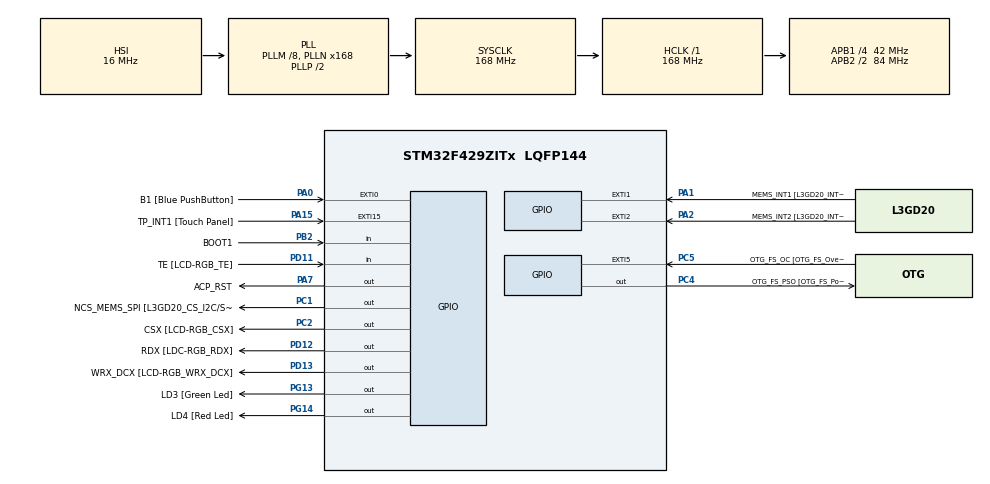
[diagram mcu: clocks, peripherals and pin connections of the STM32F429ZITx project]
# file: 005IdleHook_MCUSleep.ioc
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Mcu.Family=STM32F4
Mcu.Name=STM32F429ZITx
Mcu.Package=LQFP144
NVIC.PriorityGroup=NVIC_PRIORITYGROUP_4
NVIC.TIM6_DAC_IRQn=true\:15\:0\:false\:false\:true\:false\:true\:true
NVIC.TimeBase=TIM6_DAC_IRQn
NVIC.TimeBaseIP=TIM6
PA0/WKUP.GPIO_Label=B1 [Blue PushButton]
PA0/WKUP.GPIO_ModeDefaultEXTI=GPIO_MODE_EVT_RISING
PA0/WKUP.GPIO_PuPd=GPIO_NOPULL
PA0/WKUP.Signal=GPXTI0
PA1.GPIO_Label=MEMS_INT1 [L3GD20_INT1]
PA1.GPIO_ModeDefaultEXTI=GPIO_MODE_EVT_RISING
PA1.GPIO_PuPd=GPIO_NOPULL
PA1.Signal=GPXTI1
PA10.GPIO_Label=STLINK_TX [STM32F103CBT6_PA2]
PA10.Signal=USART1_RX
PA11.GPIO_Label=R4
PA11.GPIO_Mode=GPIO_MODE_AF_PP
PA11.GPIO_PuPd=GPIO_NOPULL
PA11.GPIO_Speed=GPIO_SPEED_FREQ_LOW
PA11.Signal=LTDC_R4
PA12.GPIO_Label=R5
PA12.GPIO_Mode=GPIO_MODE_AF_PP
PA12.GPIO_PuPd=GPIO_NOPULL
PA12.GPIO_Speed=GPIO_SPEED_FREQ_LOW
PA12.Signal=LTDC_R5
PA13.GPIO_Label=SWDIO
PA13.Signal=SYS_JTMS-SWDIO
PA14.GPIO_Label=SWCLK
PA14.Signal=SYS_JTCK-SWCLK
PA15.GPIO_Label=TP_INT1 [Touch Panel]
PA15.GPIO_ModeDefaultEXTI=GPIO_MODE_EVT_RISING
PA15.GPIO_PuPd=GPIO_NOPULL
PA15.Signal=GPXTI15
PA2.GPIO_Label=MEMS_INT2 [L3GD20_INT2]
PA2.GPIO_ModeDefaultEXTI=GPIO_MODE_EVT_RISING
PA2.GPIO_PuPd=GPIO_NOPULL
PA2.Signal=GPXTI2
PA3.GPIO_Label=B5
PA3.GPIO_Mode=GPIO_MODE_AF_PP
PA3.GPIO_PuPd=GPIO_NOPULL
PA3.GPIO_Speed=GPIO_SPEED_FREQ_LOW
PA3.Signal=LTDC_B5
PA4.GPIO_Label=VSYNC
PA4.GPIO_Mode=GPIO_MODE_AF_PP
PA4.GPIO_PuPd=GPIO_NOPULL
PA4.GPIO_Speed=GPIO_SPEED_FREQ_LOW
PA4.Signal=LTDC_VSYNC
PA6.GPIO_Label=G2
PA6.GPIO_Mode=GPIO_MODE_AF_PP
PA6.GPIO_PuPd=GPIO_NOPULL
PA6.GPIO_Speed=GPIO_SPEED_FREQ_LOW
PA6.Signal=LTDC_G2
PA7.GPIO_Label=ACP_RST
PA7.GPIO_Mode=GPIO_MODE_OUTPUT_PP
PA7.GPIO_PuPd=GPIO_NOPULL
PA7.GPIO_Speed=GPIO_SPEED_FREQ_LOW
PA7.Signal=GPIO_Output
PA8.GPIO_Label=I2C3_SCL [ACP/RF_SCL]
PA8.GPIO_Mode=GPIO_MODE_AF_OD
PA8.GPIO_PuPd=GPIO_NOPULL
PA8.GPIO_Speed=GPIO_SPEED_FREQ_LOW
PA8.Signal=I2C3_SCL
PA9.GPIO_Label=STLINK_RX [STM32F103CBT6_PA3]
PA9.Signal=USART1_TX
PB0.GPIO_Label=R3
PB0.GPIO_Mode=GPIO_MODE_AF_PP
PB0.GPIO_PuPd=GPIO_NOPULL
PB0.GPIO_Speed=GPIO_SPEED_FREQ_LOW
PB0.Signal=LTDC_R3
PB1.GPIO_Label=R6
PB1.GPIO_Mode=GPIO_MODE_AF_PP
PB1.GPIO_PuPd=GPIO_NOPULL
PB1.GPIO_Speed=GPIO_SPEED_FREQ_LOW
PB1.Signal=LTDC_R6
PB10.GPIO_Label=G4
PB10.GPIO_Mode=GPIO_MODE_AF_PP
PB10.GPIO_PuPd=GPIO_NOPULL
PB10.GPIO_Speed=GPIO_SPEED_FREQ_LOW
PB10.Signal=LTDC_G4
PB11.GPIO_Label=G5
PB11.GPIO_Mode=GPIO_MODE_AF_PP
PB11.GPIO_PuPd=GPIO_NOPULL
PB11.GPIO_Speed=GPIO_SPEED_FREQ_LOW
PB11.Signal=LTDC_G5
PB12.GPIO_Label=OTG_HS_ID
PB12.GPIO_Mode=GPIO_MODE_AF_PP
PB12.GPIO_PuPd=GPIO_NOPULL
PB12.GPIO_Speed=GPIO_SPEED_FREQ_LOW
PB12.Signal=USB_OTG_HS_ID
PB13.GPIO_Label=VBUS_HS
PB13.GPIO_Mode=GPIO_MODE_INPUT
PB13.GPIO_PuPd=GPIO_NOPULL
PB13.Signal=USB_OTG_HS_VBUS
PB14.GPIO_Label=OTG_HS_DM
PB14.GPIO_Mode=GPIO_MODE_AF_PP
PB14.GPIO_PuPd=GPIO_NOPULL
PB14.GPIO_Speed=GPIO_SPEED_FREQ_LOW
PB14.Signal=USB_OTG_HS_DM
PB15.GPIO_Label=OTG_HS_DP
PB15.GPIO_Mode=GPIO_MODE_AF_PP
PB15.GPIO_PuPd=GPIO_NOPULL
PB15.GPIO_Speed=GPIO_SPEED_FREQ_LOW
PB15.Signal=USB_OTG_HS_DP
PB2/BOOT1.GPIO_Label=BOOT1
PB2/BOOT1.GPIO_Mode=GPIO_MODE_INPUT
PB2/BOOT1.GPIO_PuPd=GPIO_NOPULL
PB2/BOOT1.Signal=GPIO_Input
PB5.GPIO_Label=SDCKE1
PB5.GPIO_Mode=GPIO_MODE_AF_PP
PB5.GPIO_PuPd=GPIO_NOPULL
PB5.GPIO_Speed=GPIO_SPEED_FREQ_VERY_HIGH
PB5.Signal=FMC_SDCKE1
PB6.GPIO_Label=SDNE1 [SDRAM_CS]
PB6.GPIO_Mode=GPIO_MODE_AF_PP
PB6.GPIO_PuPd=GPIO_NOPULL
PB6.GPIO_Speed=GPIO_SPEED_FREQ_VERY_HIGH
PB6.Signal=FMC_SDNE1
PB8.GPIO_Label=B6
PB8.GPIO_Mode=GPIO_MODE_AF_PP
PB8.GPIO_PuPd=GPIO_NOPULL
PB8.GPIO_Speed=GPIO_SPEED_FREQ_LOW
PB8.Signal=LTDC_B6
PB9.GPIO_Label=B7
PB9.GPIO_Mode=GPIO_MODE_AF_PP
PB9.GPIO_PuPd=GPIO_NOPULL
PB9.GPIO_Speed=GPIO_SPEED_FREQ_LOW
PB9.Signal=LTDC_B7
PC0.GPIO_Label=SDNWE
PC0.GPIO_Mode=GPIO_MODE_AF_PP
PC0.GPIO_PuPd=GPIO_NOPULL
PC0.GPIO_Speed=GPIO_SPEED_FREQ_VERY_HIGH
PC0.Signal=FMC_SDNWE
PC1.GPIO_Label=NCS_MEMS_SPI [L3GD20_CS_I2C/SPI]
PC1.GPIO_Mode=GPIO_MODE_OUTPUT_PP
PC1.GPIO_PuPd=GPIO_NOPULL
PC1.GPIO_Speed=GPIO_SPEED_FREQ_LOW
PC1.Signal=GPIO_Output
PC10.GPIO_Label=R2
PC10.GPIO_Mode=GPIO_MODE_AF_PP
PC10.GPIO_PuPd=GPIO_NOPULL
PC10.GPIO_Speed=GPIO_SPEED_FREQ_LOW
PC10.Signal=LTDC_R2
PC14/OSC32_IN.GPIO_Label=PC14-OSC32_IN
PC14/OSC32_IN.Signal=RCC_OSC32_IN
PC15/OSC32_OUT.GPIO_Label=PC15-OSC32_OUT
PC15/OSC32_OUT.Signal=RCC_OSC32_OUT
PC2.GPIO_Label=CSX [LCD-RGB_CSX]
PC2.GPIO_Mode=GPIO_MODE_OUTPUT_PP
PC2.GPIO_PuPd=GPIO_NOPULL
PC2.GPIO_Speed=GPIO_SPEED_FREQ_LOW
PC2.Signal=GPIO_Output
PC4.GPIO_Label=OTG_FS_PSO [OTG_FS_PowerSwitchOn]
PC4.GPIO_Mode=GPIO_MODE_OUTPUT_PP
PC4.GPIO_PuPd=GPIO_NOPULL
PC4.GPIO_Speed=GPIO_SPEED_FREQ_LOW
PC4.Signal=GPIO_Output
PC5.GPIO_Label=OTG_FS_OC [OTG_FS_OverCurrent]
PC5.GPIO_ModeDefaultEXTI=GPIO_MODE_EVT_RISING
PC5.Signal=GPXTI5
PC6.GPIO_Label=HSYNC
PC6.GPIO_Mode=GPIO_MODE_AF_PP
PC6.GPIO_PuPd=GPIO_NOPULL
PC6.GPIO_Speed=GPIO_SPEED_FREQ_LOW
PC6.Signal=LTDC_HSYNC
PC7.GPIO_Label=G6
PC7.GPIO_Mode=GPIO_MODE_AF_PP
PC7.GPIO_PuPd=GPIO_NOPULL
PC7.GPIO_Speed=GPIO_SPEED_FREQ_LOW
PC7.Signal=LTDC_G6
PC9.GPIO_Label=I2C3_SDA [ACP/RF_SDA]
PC9.GPIO_Mode=GPIO_MODE_AF_OD
PC9.GPIO_PuPd=GPIO_NOPULL
PC9.GPIO_Speed=GPIO_SPEED_FREQ_LOW
PC9.Signal=I2C3_SDA
PD0.GPIO_Label=D2
PD0.GPIO_Mode=GPIO_MODE_AF_PP
PD0.GPIO_PuPd=GPIO_NOPULL
PD0.GPIO_Speed=GPIO_SPEED_FREQ_VERY_HIGH
PD0.Signal=FMC_D2_DA2
PD1.GPIO_Label=D3
PD1.GPIO_Mode=GPIO_MODE_AF_PP
PD1.GPIO_PuPd=GPIO_NOPULL
PD1.GPIO_Speed=GPIO_SPEED_FREQ_VERY_HIGH
PD1.Signal=FMC_D3_DA3
PD10.GPIO_Label=D15
PD10.GPIO_Mode=GPIO_MODE_AF_PP
PD10.GPIO_PuPd=GPIO_NOPULL
PD10.GPIO_Speed=GPIO_SPEED_FREQ_VERY_HIGH
PD10.Signal=FMC_D15_DA15
PD11.GPIO_Label=TE [LCD-RGB_TE]
PD11.GPIO_Mode=GPIO_MODE_INPUT
PD11.GPIO_PuPd=GPIO_NOPULL
PD11.Signal=GPIO_Input
PD12.GPIO_Label=RDX [LDC-RGB_RDX]
PD12.GPIO_Mode=GPIO_MODE_OUTPUT_PP
PD12.GPIO_PuPd=GPIO_NOPULL
PD12.GPIO_Speed=GPIO_SPEED_FREQ_LOW
PD12.Signal=GPIO_Output
PD13.GPIO_Label=WRX_DCX [LCD-RGB_WRX_DCX]
PD13.GPIO_Mode=GPIO_MODE_OUTPUT_PP
PD13.GPIO_PuPd=GPIO_NOPULL
PD13.GPIO_Speed=GPIO_SPEED_FREQ_LOW
PD13.Signal=GPIO_Output
PD14.GPIO_Label=D0
PD14.GPIO_Mode=GPIO_MODE_AF_PP
PD14.GPIO_PuPd=GPIO_NOPULL
PD14.GPIO_Speed=GPIO_SPEED_FREQ_VERY_HIGH
PD14.Signal=FMC_D0_DA0
PD15.GPIO_Label=D1
PD15.GPIO_Mode=GPIO_MODE_AF_PP
PD15.GPIO_PuPd=GPIO_NOPULL
PD15.GPIO_Speed=GPIO_SPEED_FREQ_VERY_HIGH
PD15.Signal=FMC_D1_DA1
PD3.GPIO_Label=G7
PD3.GPIO_Mode=GPIO_MODE_AF_PP
PD3.GPIO_PuPd=GPIO_NOPULL
PD3.GPIO_Speed=GPIO_SPEED_FREQ_LOW
PD3.Signal=LTDC_G7
PD6.GPIO_Label=B2
PD6.GPIO_Mode=GPIO_MODE_AF_PP
PD6.GPIO_PuPd=GPIO_NOPULL
PD6.GPIO_Speed=GPIO_SPEED_FREQ_LOW
PD6.Signal=LTDC_B2
PD8.GPIO_Label=D13
PD8.GPIO_Mode=GPIO_MODE_AF_PP
PD8.GPIO_PuPd=GPIO_NOPULL
PD8.GPIO_Speed=GPIO_SPEED_FREQ_VERY_HIGH
PD8.Signal=FMC_D13_DA13
PD9.GPIO_Label=D14
PD9.GPIO_Mode=GPIO_MODE_AF_PP
PD9.GPIO_PuPd=GPIO_NOPULL
PD9.GPIO_Speed=GPIO_SPEED_FREQ_VERY_HIGH
PD9.Signal=FMC_D14_DA14
PE0.GPIO_Label=NBL0 [SDRAM_LDQM]
PE0.GPIO_Mode=GPIO_MODE_AF_PP
PE0.GPIO_PuPd=GPIO_NOPULL
PE0.GPIO_Speed=GPIO_SPEED_FREQ_VERY_HIGH
PE0.Signal=FMC_NBL0
PE1.GPIO_Label=NBL1 [SDRAM_UDQM]
PE1.GPIO_Mode=GPIO_MODE_AF_PP
PE1.GPIO_PuPd=GPIO_NOPULL
PE1.GPIO_Speed=GPIO_SPEED_FREQ_VERY_HIGH
PE1.Signal=FMC_NBL1
PE10.GPIO_Label=D7
PE10.GPIO_Mode=GPIO_MODE_AF_PP
PE10.GPIO_PuPd=GPIO_NOPULL
PE10.GPIO_Speed=GPIO_SPEED_FREQ_VERY_HIGH
PE10.Signal=FMC_D7_DA7
PE11.GPIO_Label=D8
PE11.GPIO_Mode=GPIO_MODE_AF_PP
PE11.GPIO_PuPd=GPIO_NOPULL
PE11.GPIO_Speed=GPIO_SPEED_FREQ_VERY_HIGH
PE11.Signal=FMC_D8_DA8
PE12.GPIO_Label=D9
PE12.GPIO_Mode=GPIO_MODE_AF_PP
PE12.GPIO_PuPd=GPIO_NOPULL
PE12.GPIO_Speed=GPIO_SPEED_FREQ_VERY_HIGH
PE12.Signal=FMC_D9_DA9
PE13.GPIO_Label=D10
PE13.GPIO_Mode=GPIO_MODE_AF_PP
PE13.GPIO_PuPd=GPIO_NOPULL
PE13.GPIO_Speed=GPIO_SPEED_FREQ_VERY_HIGH
PE13.Signal=FMC_D10_DA10
PE14.GPIO_Label=D11
PE14.GPIO_Mode=GPIO_MODE_AF_PP
PE14.GPIO_PuPd=GPIO_NOPULL
PE14.GPIO_Speed=GPIO_SPEED_FREQ_VERY_HIGH
PE14.Signal=FMC_D11_DA11
PE15.GPIO_Label=D12
PE15.GPIO_Mode=GPIO_MODE_AF_PP
PE15.GPIO_PuPd=GPIO_NOPULL
PE15.GPIO_Speed=GPIO_SPEED_FREQ_VERY_HIGH
PE15.Signal=FMC_D12_DA12
PE7.GPIO_Label=D4
PE7.GPIO_Mode=GPIO_MODE_AF_PP
PE7.GPIO_PuPd=GPIO_NOPULL
PE7.GPIO_Speed=GPIO_SPEED_FREQ_VERY_HIGH
PE7.Signal=FMC_D4_DA4
PE8.GPIO_Label=D5
PE8.GPIO_Mode=GPIO_MODE_AF_PP
PE8.GPIO_PuPd=GPIO_NOPULL
PE8.GPIO_Speed=GPIO_SPEED_FREQ_VERY_HIGH
PE8.Signal=FMC_D5_DA5
PE9.GPIO_Label=D6
PE9.GPIO_Mode=GPIO_MODE_AF_PP
PE9.GPIO_PuPd=GPIO_NOPULL
PE9.GPIO_Speed=GPIO_SPEED_FREQ_VERY_HIGH
PE9.Signal=FMC_D6_DA6
PF0.GPIO_Label=A0
PF0.GPIO_Mode=GPIO_MODE_AF_PP
PF0.GPIO_PuPd=GPIO_NOPULL
PF0.GPIO_Speed=GPIO_SPEED_FREQ_VERY_HIGH
PF0.Signal=FMC_A0
PF1.GPIO_Label=A1
PF1.GPIO_Mode=GPIO_MODE_AF_PP
PF1.GPIO_PuPd=GPIO_NOPULL
PF1.GPIO_Speed=GPIO_SPEED_FREQ_VERY_HIGH
PF1.Signal=FMC_A1
PF10.GPIO_Label=ENABLE [LCD-RGB_ENABLE]
PF10.GPIO_Mode=GPIO_MODE_AF_PP
PF10.GPIO_PuPd=GPIO_NOPULL
PF10.GPIO_Speed=GPIO_SPEED_FREQ_LOW
PF10.Signal=LTDC_DE
PF11.GPIO_Label=SDNRAS
PF11.GPIO_Mode=GPIO_MODE_AF_PP
PF11.GPIO_PuPd=GPIO_NOPULL
PF11.GPIO_Speed=GPIO_SPEED_FREQ_VERY_HIGH
PF11.Signal=FMC_SDNRAS
PF12.GPIO_Label=A6
PF12.GPIO_Mode=GPIO_MODE_AF_PP
PF12.GPIO_PuPd=GPIO_NOPULL
PF12.GPIO_Speed=GPIO_SPEED_FREQ_VERY_HIGH
PF12.Signal=FMC_A6
PF13.GPIO_Label=A7
PF13.GPIO_Mode=GPIO_MODE_AF_PP
PF13.GPIO_PuPd=GPIO_NOPULL
PF13.GPIO_Speed=GPIO_SPEED_FREQ_VERY_HIGH
PF13.Signal=FMC_A7
PF14.GPIO_Label=A8
PF14.GPIO_Mode=GPIO_MODE_AF_PP
PF14.GPIO_PuPd=GPIO_NOPULL
PF14.GPIO_Speed=GPIO_SPEED_FREQ_VERY_HIGH
PF14.Signal=FMC_A8
PF15.GPIO_Label=A9
PF15.GPIO_Mode=GPIO_MODE_AF_PP
PF15.GPIO_PuPd=GPIO_NOPULL
PF15.GPIO_Speed=GPIO_SPEED_FREQ_VERY_HIGH
PF15.Signal=FMC_A9
PF2.GPIO_Label=A2
PF2.GPIO_Mode=GPIO_MODE_AF_PP
PF2.GPIO_PuPd=GPIO_NOPULL
PF2.GPIO_Speed=GPIO_SPEED_FREQ_VERY_HIGH
PF2.Signal=FMC_A2
PF3.GPIO_Label=A3
PF3.GPIO_Mode=GPIO_MODE_AF_PP
PF3.GPIO_PuPd=GPIO_NOPULL
PF3.GPIO_Speed=GPIO_SPEED_FREQ_VERY_HIGH
PF3.Signal=FMC_A3
PF4.GPIO_Label=A4
PF4.GPIO_Mode=GPIO_MODE_AF_PP
PF4.GPIO_PuPd=GPIO_NOPULL
PF4.GPIO_Speed=GPIO_SPEED_FREQ_VERY_HIGH
PF4.Signal=FMC_A4
PF5.GPIO_Label=A5
PF5.GPIO_Mode=GPIO_MODE_AF_PP
PF5.GPIO_PuPd=GPIO_NOPULL
PF5.GPIO_Speed=GPIO_SPEED_FREQ_VERY_HIGH
PF5.Signal=FMC_A5
PF7.GPIO_Label=SPI5_SCK [L3GD20_SCL/SPC]
PF7.GPIO_Mode=GPIO_MODE_AF_PP
PF7.GPIO_PuPd=GPIO_NOPULL
PF7.GPIO_Speed=GPIO_SPEED_FREQ_LOW
PF7.Signal=SPI5_SCK
PF8.GPIO_Label=SPI5_MISO [L3GD20_SDO]
PF8.GPIO_Mode=GPIO_MODE_AF_PP
PF8.GPIO_PuPd=GPIO_NOPULL
PF8.GPIO_Speed=GPIO_SPEED_FREQ_LOW
PF8.Signal=SPI5_MISO
PF9.GPIO_Label=SPI5_MOSI [L3GD20_SDA/SDI/SDO]
PF9.GPIO_Mode=GPIO_MODE_AF_PP
PF9.GPIO_PuPd=GPIO_NOPULL
PF9.GPIO_Speed=GPIO_SPEED_FREQ_LOW
PF9.Signal=SPI5_MOSI
PG0.GPIO_Label=A10
PG0.GPIO_Mode=GPIO_MODE_AF_PP
PG0.GPIO_PuPd=GPIO_NOPULL
PG0.GPIO_Speed=GPIO_SPEED_FREQ_VERY_HIGH
PG0.Signal=FMC_A10
PG1.GPIO_Label=A11
PG1.GPIO_Mode=GPIO_MODE_AF_PP
PG1.GPIO_PuPd=GPIO_NOPULL
PG1.GPIO_Speed=GPIO_SPEED_FREQ_VERY_HIGH
PG1.Signal=FMC_A11
PG10.GPIO_Label=G3
PG10.GPIO_Mode=GPIO_MODE_AF_PP
PG10.GPIO_PuPd=GPIO_NOPULL
PG10.GPIO_Speed=GPIO_SPEED_FREQ_LOW
PG10.Signal=LTDC_G3
PG11.GPIO_Label=B3
PG11.GPIO_Mode=GPIO_MODE_AF_PP
PG11.GPIO_PuPd=GPIO_NOPULL
PG11.GPIO_Speed=GPIO_SPEED_FREQ_LOW
PG11.Signal=LTDC_B3
PG12.GPIO_Label=B4
PG12.GPIO_Mode=GPIO_MODE_AF_PP
PG12.GPIO_PuPd=GPIO_NOPULL
PG12.GPIO_Speed=GPIO_SPEED_FREQ_LOW
PG12.Signal=LTDC_B4
PG13.GPIO_Label=LD3 [Green Led]
PG13.GPIO_Mode=GPIO_MODE_OUTPUT_PP
PG13.GPIO_PuPd=GPIO_NOPULL
PG13.GPIO_Speed=GPIO_SPEED_FREQ_LOW
PG13.Signal=GPIO_Output
PG14.GPIO_Label=LD4 [Red Led]
PG14.GPIO_Mode=GPIO_MODE_OUTPUT_PP
PG14.GPIO_PuPd=GPIO_NOPULL
PG14.GPIO_Speed=GPIO_SPEED_FREQ_LOW
PG14.Signal=GPIO_Output
PG15.GPIO_Label=SDNCAS
PG15.GPIO_Mode=GPIO_MODE_AF_PP
PG15.GPIO_PuPd=GPIO_NOPULL
PG15.GPIO_Speed=GPIO_SPEED_FREQ_VERY_HIGH
PG15.Signal=FMC_SDNCAS
PG4.GPIO_Label=BA0
PG4.GPIO_Mode=GPIO_MODE_AF_PP
PG4.GPIO_PuPd=GPIO_NOPULL
PG4.GPIO_Speed=GPIO_SPEED_FREQ_VERY_HIGH
PG4.Signal=FMC_A14_BA0
PG5.GPIO_Label=BA1
PG5.GPIO_Mode=GPIO_MODE_AF_PP
PG5.GPIO_PuPd=GPIO_NOPULL
PG5.GPIO_Speed=GPIO_SPEED_FREQ_VERY_HIGH
PG5.Signal=FMC_A15_BA1
PG6.GPIO_Label=R7
PG6.GPIO_Mode=GPIO_MODE_AF_PP
PG6.GPIO_PuPd=GPIO_NOPULL
PG6.GPIO_Speed=GPIO_SPEED_FREQ_LOW
PG6.Signal=LTDC_R7
PG7.GPIO_Label=DOTCLK [LCT-RGB_DOTCLK]
PG7.GPIO_Mode=GPIO_MODE_AF_PP
PG7.GPIO_PuPd=GPIO_NOPULL
PG7.GPIO_Speed=GPIO_SPEED_FREQ_LOW
PG7.Signal=LTDC_CLK
PG8.GPIO_Label=SDCLK
PG8.GPIO_Mode=GPIO_MODE_AF_PP
PG8.GPIO_PuPd=GPIO_NOPULL
PG8.GPIO_Speed=GPIO_SPEED_FREQ_VERY_HIGH
PG8.Signal=FMC_SDCLK
PH0/OSC_IN.GPIO_Label=PH0-OSC_IN
PH0/OSC_IN.Signal=RCC_OSC_IN
PH1/OSC_OUT.GPIO_Label=PH1-OSC_OUT
PH1/OSC_OUT.Signal=RCC_OSC_OUT
ProjectManager.HeapSize=0x200
ProjectManager.StackSize=0x400
ProjectManager.TargetToolchain=STM32CubeIDE
RCC.48MHZClocksFreq_Value=48000000
RCC.AHBFreq_Value=168000000
RCC.APB1CLKDivider=RCC_HCLK_DIV4
RCC.APB1Freq_Value=42000000
RCC.APB1TimFreq_Value=84000000
RCC.APB2CLKDivider=RCC_HCLK_DIV2
RCC.APB2Freq_Value=84000000
RCC.APB2TimFreq_Value=168000000
RCC.CortexFreq_Value=168000000
RCC.HCLKFreq_Value=168000000
RCC.HSE_VALUE=8000000
RCC.HSI_VALUE=16000000
RCC.LSE_VALUE=32768
RCC.PLLM=8
RCC.PLLN=168
RCC.PLLQ=7
RCC.SYSCLKFreq_VALUE=168000000
RCC.SYSCLKSource=RCC_SYSCLKSOURCE_PLLCLK
RCC.VCOOutputFreq_Value=336000000
SH.FMC_A0.0=FMC_A0
SH.FMC_A1.0=FMC_A1
SH.FMC_A10.0=FMC_A10
SH.FMC_A11.0=FMC_A11
SH.FMC_A14_BA0.0=FMC_BA0
SH.FMC_A15_BA1.0=FMC_BA1
SH.FMC_A2.0=FMC_A2
SH.FMC_A3.0=FMC_A3
SH.FMC_A4.0=FMC_A4
SH.FMC_A5.0=FMC_A5
SH.FMC_A6.0=FMC_A6
SH.FMC_A7.0=FMC_A7
SH.FMC_A8.0=FMC_A8
SH.FMC_A9.0=FMC_A9
SH.FMC_D0_DA0.0=FMC_D0
SH.FMC_D10_DA10.0=FMC_D10
SH.FMC_D11_DA11.0=FMC_D11
SH.FMC_D12_DA12.0=FMC_D12
SH.FMC_D13_DA13.0=FMC_D13
SH.FMC_D14_DA14.0=FMC_D14
SH.FMC_D15_DA15.0=FMC_D15
SH.FMC_D1_DA1.0=FMC_D1
SH.FMC_D2_DA2.0=FMC_D2
SH.FMC_D3_DA3.0=FMC_D3
SH.FMC_D4_DA4.0=FMC_D4
SH.FMC_D5_DA5.0=FMC_D5
SH.FMC_D6_DA6.0=FMC_D6
SH.FMC_D7_DA7.0=FMC_D7
SH.FMC_D8_DA8.0=FMC_D8
SH.FMC_D9_DA9.0=FMC_D9
SH.FMC_NBL0.0=FMC_NBL0
SH.FMC_NBL1.0=FMC_NBL1
SH.FMC_SDCLK.0=FMC_SDCLK
SH.FMC_SDNCAS.0=FMC_SDNCAS
SH.FMC_SDNRAS.0=FMC_SDNRAS
SH.FMC_SDNWE.0=FMC_SDNWE
VP_SYS_VS_tim6.Mode=TIM6
board=STM32F429I-DISC1

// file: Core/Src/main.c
/* USER CODE BEGIN Header */
/**
  ******************************************************************************
  * @file           : main.c
  * @brief          : Main program body
  ******************************************************************************
  * @attention
  *
  * Copyright (c) 2024 STMicroelectronics.
  * All rights reserved.
  *
  * This software is licensed under terms that can be found in the LICENSE file
  * in the root directory of this software component.
  * If no LICENSE file comes with this software, it is provided AS-IS.
  *
  ******************************************************************************
  */
/* USER CODE END Header */
#include "main.h"

/* USER CODE BEGIN Includes */
#include <stdio.h>
#include "FreeRTOS.h"
#include "task.h"
#include "string.h"
#include "limits.h"
#include "SEGGER_SYSVIEW_FreeRTOS.h"

/* USER CODE END Includes */

/* USER CODE BEGIN PV */

#define DWT_CTRL (volatile uint32_t*)0xE0001000

/* USER CODE END PV */

void SystemClock_Config(void);
static void MX_GPIO_Init(void);
/* USER CODE BEGIN PFP */

static void red_led_handler(void *pvParam);
static void green_led_handler(void *pvParam);
static void button_handler(void *pvParam);

extern void SEGGER_UART_init(U32 baud);

/* USER CODE END PFP */

/* USER CODE BEGIN 0 */
static TaskHandle_t xRedLedTaskHandle = NULL;
static TaskHandle_t xGreenLedTaskHandle = NULL;
static TaskHandle_t xButtonTaskHandle = NULL;
static volatile TaskHandle_t xNextTaskHandle = NULL;
/* USER CODE END 0 */

int main(void)
{
  /* USER CODE BEGIN 1 */

	BaseType_t xReturned = 0;
//	TaskHandle_t xNotifyTaskHandle = NULL, xNotifyWaitTaskHandle = NULL;

  /* USER CODE END 1 */

  /* MCU Configuration--------------------------------------------------------*/

  /* Reset of all peripherals, Initializes the Flash interface and the Systick. */
  HAL_Init();

  /* Configure the system clock */
  SystemClock_Config();

  /* Initialize all configured peripherals */
  MX_GPIO_Init();
  /* USER CODE BEGIN 2 */

  // enable the CYCCNT counter
  *DWT_CTRL |= (1 << 0);

  // enable usart
  SEGGER_UART_init(500000);

  // start segger recording
  SEGGER_SYSVIEW_Conf();

  xReturned = xTaskCreate(red_led_handler, "red_led_handler", 200, NULL, 2, &xRedLedTaskHandle);
  configASSERT(pdPASS == xReturned);
  xNextTaskHandle = xRedLedTaskHandle;

  xReturned = xTaskCreate(green_led_handler, "green_led_handler", 200, NULL, 3, &xGreenLedTaskHandle);
  configASSERT(pdPASS == xReturned);

  xReturned = xTaskCreate(button_handler, "button_handler", 200, NULL, 4, &xButtonTaskHandle);
  configASSERT(pdPASS == xReturned);

  // start the scheduler
  vTaskStartScheduler();

  /* USER CODE END 2 */

  /* Infinite loop */
  while (1)
  {

  }
}

void SystemClock_Config(void)
{
  RCC_OscInitTypeDef RCC_OscInitStruct = {0};
  RCC_ClkInitTypeDef RCC_ClkInitStruct = {0};

  /** Configure the main internal regulator output voltage
  */
  __HAL_RCC_PWR_CLK_ENABLE();
  __HAL_PWR_VOLTAGESCALING_CONFIG(PWR_REGULATOR_VOLTAGE_SCALE1);

  /** Initializes the RCC Oscillators according to the specified parameters
  * in the RCC_OscInitTypeDef structure.
  */
  RCC_OscInitStruct.OscillatorType = RCC_OSCILLATORTYPE_HSI;
  RCC_OscInitStruct.HSIState = RCC_HSI_ON;
  RCC_OscInitStruct.HSICalibrationValue = RCC_HSICALIBRATION_DEFAULT;
  RCC_OscInitStruct.PLL.PLLState = RCC_PLL_ON;
  RCC_OscInitStruct.PLL.PLLSource = RCC_PLLSOURCE_HSI;
  RCC_OscInitStruct.PLL.PLLM = 8;
  RCC_OscInitStruct.PLL.PLLN = 168;
  RCC_OscInitStruct.PLL.PLLP = RCC_PLLP_DIV2;
  RCC_OscInitStruct.PLL.PLLQ = 7;
  if (HAL_RCC_OscConfig(&RCC_OscInitStruct) != HAL_OK)
  {
    Error_Handler();
  }

  /** Initializes the CPU, AHB and APB buses clocks
  */
  RCC_ClkInitStruct.ClockType = RCC_CLOCKTYPE_HCLK|RCC_CLOCKTYPE_SYSCLK
                              |RCC_CLOCKTYPE_PCLK1|RCC_CLOCKTYPE_PCLK2;
  RCC_ClkInitStruct.SYSCLKSource = RCC_SYSCLKSOURCE_PLLCLK;
  RCC_ClkInitStruct.AHBCLKDivider = RCC_SYSCLK_DIV1;
  RCC_ClkInitStruct.APB1CLKDivider = RCC_HCLK_DIV4;
  RCC_ClkInitStruct.APB2CLKDivider = RCC_HCLK_DIV2;

  if (HAL_RCC_ClockConfig(&RCC_ClkInitStruct, FLASH_LATENCY_5) != HAL_OK)
  {
    Error_Handler();
  }
}

static void MX_GPIO_Init(void)
{
  GPIO_InitTypeDef GPIO_InitStruct = {0};

  /* GPIO Ports Clock Enable */
  __HAL_RCC_GPIOC_CLK_ENABLE();
  __HAL_RCC_GPIOF_CLK_ENABLE();
  __HAL_RCC_GPIOH_CLK_ENABLE();
  __HAL_RCC_GPIOA_CLK_ENABLE();
  __HAL_RCC_GPIOB_CLK_ENABLE();
  __HAL_RCC_GPIOG_CLK_ENABLE();
  __HAL_RCC_GPIOE_CLK_ENABLE();
  __HAL_RCC_GPIOD_CLK_ENABLE();

  /*Configure GPIO pin Output Level */
  HAL_GPIO_WritePin(GPIOC, NCS_MEMS_SPI_Pin|CSX_Pin|OTG_FS_PSO_Pin, GPIO_PIN_RESET);

  /*Configure GPIO pin Output Level */
  HAL_GPIO_WritePin(ACP_RST_GPIO_Port, ACP_RST_Pin, GPIO_PIN_RESET);

  /*Configure GPIO pin Output Level */
  HAL_GPIO_WritePin(GPIOD, RDX_Pin|WRX_DCX_Pin, GPIO_PIN_RESET);

  /*Configure GPIO pin Output Level */
  HAL_GPIO_WritePin(GPIOG, LD3_Pin|LD4_Pin, GPIO_PIN_RESET);

  /*Configure GPIO pins : A0_Pin A1_Pin A2_Pin A3_Pin
                           A4_Pin A5_Pin SDNRAS_Pin A6_Pin
                           A7_Pin A8_Pin A9_Pin */
  GPIO_InitStruct.Pin = A0_Pin|A1_Pin|A2_Pin|A3_Pin
                          |A4_Pin|A5_Pin|SDNRAS_Pin|A6_Pin
                          |A7_Pin|A8_Pin|A9_Pin;
  GPIO_InitStruct.Mode = GPIO_MODE_AF_PP;
  GPIO_InitStruct.Pull = GPIO_NOPULL;
  GPIO_InitStruct.Speed = GPIO_SPEED_FREQ_VERY_HIGH;
  GPIO_InitStruct.Alternate = GPIO_AF12_FMC;
  HAL_GPIO_Init(GPIOF, &GPIO_InitStruct);

  /*Configure GPIO pins : SPI5_SCK_Pin SPI5_MISO_Pin SPI5_MOSI_Pin */
  GPIO_InitStruct.Pin = SPI5_SCK_Pin|SPI5_MISO_Pin|SPI5_MOSI_Pin;
  GPIO_InitStruct.Mode = GPIO_MODE_AF_PP;
  GPIO_InitStruct.Pull = GPIO_NOPULL;
  GPIO_InitStruct.Speed = GPIO_SPEED_FREQ_LOW;
  GPIO_InitStruct.Alternate = GPIO_AF5_SPI5;
  HAL_GPIO_Init(GPIOF, &GPIO_InitStruct);

  /*Configure GPIO pin : ENABLE_Pin */
  GPIO_InitStruct.Pin = ENABLE_Pin;
  GPIO_InitStruct.Mode = GPIO_MODE_AF_PP;
  GPIO_InitStruct.Pull = GPIO_NOPULL;
  GPIO_InitStruct.Speed = GPIO_SPEED_FREQ_LOW;
  GPIO_InitStruct.Alternate = GPIO_AF14_LTDC;
  HAL_GPIO_Init(ENABLE_GPIO_Port, &GPIO_InitStruct);

  /*Configure GPIO pin : SDNWE_Pin */
  GPIO_InitStruct.Pin = SDNWE_Pin;
  GPIO_InitStruct.Mode = GPIO_MODE_AF_PP;
  GPIO_InitStruct.Pull = GPIO_NOPULL;
  GPIO_InitStruct.Speed = GPIO_SPEED_FREQ_VERY_HIGH;
  GPIO_InitStruct.Alternate = GPIO_AF12_FMC;
  HAL_GPIO_Init(SDNWE_GPIO_Port, &GPIO_InitStruct);

  /*Configure GPIO pins : NCS_MEMS_SPI_Pin CSX_Pin OTG_FS_PSO_Pin */
  GPIO_InitStruct.Pin = NCS_MEMS_SPI_Pin|CSX_Pin|OTG_FS_PSO_Pin;
  GPIO_InitStruct.Mode = GPIO_MODE_OUTPUT_PP;
  GPIO_InitStruct.Pull = GPIO_NOPULL;
  GPIO_InitStruct.Speed = GPIO_SPEED_FREQ_LOW;
  HAL_GPIO_Init(GPIOC, &GPIO_InitStruct);

  /*Configure GPIO pins : B1_Pin MEMS_INT1_Pin MEMS_INT2_Pin TP_INT1_Pin */
  GPIO_InitStruct.Pin = B1_Pin|MEMS_INT1_Pin|MEMS_INT2_Pin|TP_INT1_Pin;
  GPIO_InitStruct.Mode = GPIO_MODE_EVT_RISING;
  GPIO_InitStruct.Pull = GPIO_NOPULL;
  HAL_GPIO_Init(GPIOA, &GPIO_InitStruct);

  /*Configure GPIO pins : B5_Pin VSYNC_Pin G2_Pin R4_Pin
                           R5_Pin */
  GPIO_InitStruct.Pin = B5_Pin|VSYNC_Pin|G2_Pin|R4_Pin
                          |R5_Pin;
  GPIO_InitStruct.Mode = GPIO_MODE_AF_PP;
  GPIO_InitStruct.Pull = GPIO_NOPULL;
  GPIO_InitStruct.Speed = GPIO_SPEED_FREQ_LOW;
  GPIO_InitStruct.Alternate = GPIO_AF14_LTDC;
  HAL_GPIO_Init(GPIOA, &GPIO_InitStruct);

  /*Configure GPIO pin : ACP_RST_Pin */
  GPIO_InitStruct.Pin = ACP_RST_Pin;
  GPIO_InitStruct.Mode = GPIO_MODE_OUTPUT_PP;
  GPIO_InitStruct.Pull = GPIO_NOPULL;
  GPIO_InitStruct.Speed = GPIO_SPEED_FREQ_LOW;
  HAL_GPIO_Init(ACP_RST_GPIO_Port, &GPIO_InitStruct);

  /*Configure GPIO pin : OTG_FS_OC_Pin */
  GPIO_InitStruct.Pin = OTG_FS_OC_Pin;
  GPIO_InitStruct.Mode = GPIO_MODE_EVT_RISING;
  GPIO_InitStruct.Pull = GPIO_NOPULL;
  HAL_GPIO_Init(OTG_FS_OC_GPIO_Port, &GPIO_InitStruct);

  /*Configure GPIO pins : R3_Pin R6_Pin */
  GPIO_InitStruct.Pin = R3_Pin|R6_Pin;
  GPIO_InitStruct.Mode = GPIO_MODE_AF_PP;
  GPIO_InitStruct.Pull = GPIO_NOPULL;
  GPIO_InitStruct.Speed = GPIO_SPEED_FREQ_LOW;
  GPIO_InitStruct.Alternate = GPIO_AF9_LTDC;
  HAL_GPIO_Init(GPIOB, &GPIO_InitStruct);

  /*Configure GPIO pin : BOOT1_Pin */
  GPIO_InitStruct.Pin = BOOT1_Pin;
  GPIO_InitStruct.Mode = GPIO_MODE_INPUT;
  GPIO_InitStruct.Pull = GPIO_NOPULL;
  HAL_GPIO_Init(BOOT1_GPIO_Port, &GPIO_InitStruct);

  /*Configure GPIO pins : A10_Pin A11_Pin BA0_Pin BA1_Pin
                           SDCLK_Pin SDNCAS_Pin */
  GPIO_InitStruct.Pin = A10_Pin|A11_Pin|BA0_Pin|BA1_Pin
                          |SDCLK_Pin|SDNCAS_Pin;
  GPIO_InitStruct.Mode = GPIO_MODE_AF_PP;
  GPIO_InitStruct.Pull = GPIO_NOPULL;
  GPIO_InitStruct.Speed = GPIO_SPEED_FREQ_VERY_HIGH;
  GPIO_InitStruct.Alternate = GPIO_AF12_FMC;
  HAL_GPIO_Init(GPIOG, &GPIO_InitStruct);

  /*Configure GPIO pins : D4_Pin D5_Pin D6_Pin D7_Pin
                           D8_Pin D9_Pin D10_Pin D11_Pin
                           D12_Pin NBL0_Pin NBL1_Pin */
  GPIO_InitStruct.Pin = D4_Pin|D5_Pin|D6_Pin|D7_Pin
                          |D8_Pin|D9_Pin|D10_Pin|D11_Pin
                          |D12_Pin|NBL0_Pin|NBL1_Pin;
  GPIO_InitStruct.Mode = GPIO_MODE_AF_PP;
  GPIO_InitStruct.Pull = GPIO_NOPULL;
  GPIO_InitStruct.Speed = GPIO_SPEED_FREQ_VERY_HIGH;
  GPIO_InitStruct.Alternate = GPIO_AF12_FMC;
  HAL_GPIO_Init(GPIOE, &GPIO_InitStruct);

  /*Configure GPIO pins : G4_Pin G5_Pin B6_Pin B7_Pin */
  GPIO_InitStruct.Pin = G4_Pin|G5_Pin|B6_Pin|B7_Pin;
  GPIO_InitStruct.Mode = GPIO_MODE_AF_PP;
  GPIO_InitStruct.Pull = GPIO_NOPULL;
  GPIO_InitStruct.Speed = GPIO_SPEED_FREQ_LOW;
  GPIO_InitStruct.Alternate = GPIO_AF14_LTDC;
  HAL_GPIO_Init(GPIOB, &GPIO_InitStruct);

  /*Configure GPIO pins : OTG_HS_ID_Pin OTG_HS_DM_Pin OTG_HS_DP_Pin */
  GPIO_InitStruct.Pin = OTG_HS_ID_Pin|OTG_HS_DM_Pin|OTG_HS_DP_Pin;
  GPIO_InitStruct.Mode = GPIO_MODE_AF_PP;
  GPIO_InitStruct.Pull = GPIO_NOPULL;
  GPIO_InitStruct.Speed = GPIO_SPEED_FREQ_LOW;
  GPIO_InitStruct.Alternate = GPIO_AF12_OTG_HS_FS;
  HAL_GPIO_Init(GPIOB, &GPIO_InitStruct);

  /*Configure GPIO pin : VBUS_HS_Pin */
  GPIO_InitStruct.Pin = VBUS_HS_Pin;
  GPIO_InitStruct.Mode = GPIO_MODE_INPUT;
  GPIO_InitStruct.Pull = GPIO_NOPULL;
  HAL_GPIO_Init(VBUS_HS_GPIO_Port, &GPIO_InitStruct);

  /*Configure GPIO pins : D13_Pin D14_Pin D15_Pin D0_Pin
                           D1_Pin D2_Pin D3_Pin */
  GPIO_InitStruct.Pin = D13_Pin|D14_Pin|D15_Pin|D0_Pin
                          |D1_Pin|D2_Pin|D3_Pin;
  GPIO_InitStruct.Mode = GPIO_MODE_AF_PP;
  GPIO_InitStruct.Pull = GPIO_NOPULL;
  GPIO_InitStruct.Speed = GPIO_SPEED_FREQ_VERY_HIGH;
  GPIO_InitStruct.Alternate = GPIO_AF12_FMC;
  HAL_GPIO_Init(GPIOD, &GPIO_InitStruct);

  /*Configure GPIO pin : TE_Pin */
  GPIO_InitStruct.Pin = TE_Pin;
  GPIO_InitStruct.Mode = GPIO_MODE_INPUT;
  GPIO_InitStruct.Pull = GPIO_NOPULL;
  HAL_GPIO_Init(TE_GPIO_Port, &GPIO_InitStruct);

  /*Configure GPIO pins : RDX_Pin WRX_DCX_Pin */
  GPIO_InitStruct.Pin = RDX_Pin|WRX_DCX_Pin;
  GPIO_InitStruct.Mode = GPIO_MODE_OUTPUT_PP;
  GPIO_InitStruct.Pull = GPIO_NOPULL;
  GPIO_InitStruct.Speed = GPIO_SPEED_FREQ_LOW;
  HAL_GPIO_Init(GPIOD, &GPIO_InitStruct);

  /*Configure GPIO pins : R7_Pin DOTCLK_Pin B3_Pin */
  GPIO_InitStruct.Pin = R7_Pin|DOTCLK_Pin|B3_Pin;
  GPIO_InitStruct.Mode = GPIO_MODE_AF_PP;
  GPIO_InitStruct.Pull = GPIO_NOPULL;
  GPIO_InitStruct.Speed = GPIO_SPEED_FREQ_LOW;
  GPIO_InitStruct.Alternate = GPIO_AF14_LTDC;
  HAL_GPIO_Init(GPIOG, &GPIO_InitStruct);

  /*Configure GPIO pins : HSYNC_Pin G6_Pin R2_Pin */
  GPIO_InitStruct.Pin = HSYNC_Pin|G6_Pin|R2_Pin;
  GPIO_InitStruct.Mode = GPIO_MODE_AF_PP;
  GPIO_InitStruct.Pull = GPIO_NOPULL;
  GPIO_InitStruct.Speed = GPIO_SPEED_FREQ_LOW;
  GPIO_InitStruct.Alternate = GPIO_AF14_LTDC;
  HAL_GPIO_Init(GPIOC, &GPIO_InitStruct);

  /*Configure GPIO pin : I2C3_SDA_Pin */
  GPIO_InitStruct.Pin = I2C3_SDA_Pin;
  GPIO_InitStruct.Mode = GPIO_MODE_AF_OD;
  GPIO_InitStruct.Pull = GPIO_NOPULL;
  GPIO_InitStruct.Speed = GPIO_SPEED_FREQ_LOW;
  GPIO_InitStruct.Alternate = GPIO_AF4_I2C3;
  HAL_GPIO_Init(I2C3_SDA_GPIO_Port, &GPIO_InitStruct);

  /*Configure GPIO pin : I2C3_SCL_Pin */
  GPIO_InitStruct.Pin = I2C3_SCL_Pin;
  GPIO_InitStruct.Mode = GPIO_MODE_AF_OD;
  GPIO_InitStruct.Pull = GPIO_NOPULL;
  GPIO_InitStruct.Speed = GPIO_SPEED_FREQ_LOW;
  GPIO_InitStruct.Alternate = GPIO_AF4_I2C3;
  HAL_GPIO_Init(I2C3_SCL_GPIO_Port, &GPIO_InitStruct);

  /*Configure GPIO pins : STLINK_RX_Pin STLINK_TX_Pin */
  GPIO_InitStruct.Pin = STLINK_RX_Pin|STLINK_TX_Pin;
  GPIO_InitStruct.Mode = GPIO_MODE_AF_PP;
  GPIO_InitStruct.Pull = GPIO_NOPULL;
  GPIO_InitStruct.Speed = GPIO_SPEED_FREQ_VERY_HIGH;
  GPIO_InitStruct.Alternate = GPIO_AF7_USART1;
  HAL_GPIO_Init(GPIOA, &GPIO_InitStruct);

  /*Configure GPIO pins : G7_Pin B2_Pin */
  GPIO_InitStruct.Pin = G7_Pin|B2_Pin;
  GPIO_InitStruct.Mode = GPIO_MODE_AF_PP;
  GPIO_InitStruct.Pull = GPIO_NOPULL;
  GPIO_InitStruct.Speed = GPIO_SPEED_FREQ_LOW;
  GPIO_InitStruct.Alternate = GPIO_AF14_LTDC;
  HAL_GPIO_Init(GPIOD, &GPIO_InitStruct);

  /*Configure GPIO pins : G3_Pin B4_Pin */
  GPIO_InitStruct.Pin = G3_Pin|B4_Pin;
  GPIO_InitStruct.Mode = GPIO_MODE_AF_PP;
  GPIO_InitStruct.Pull = GPIO_NOPULL;
  GPIO_InitStruct.Speed = GPIO_SPEED_FREQ_LOW;
  GPIO_InitStruct.Alternate = GPIO_AF9_LTDC;
  HAL_GPIO_Init(GPIOG, &GPIO_InitStruct);

  /*Configure GPIO pins : LD3_Pin LD4_Pin */
  GPIO_InitStruct.Pin = LD3_Pin|LD4_Pin;
  GPIO_InitStruct.Mode = GPIO_MODE_OUTPUT_PP;
  GPIO_InitStruct.Pull = GPIO_NOPULL;
  GPIO_InitStruct.Speed = GPIO_SPEED_FREQ_LOW;
  HAL_GPIO_Init(GPIOG, &GPIO_InitStruct);

  /*Configure GPIO pins : SDCKE1_Pin SDNE1_Pin */
  GPIO_InitStruct.Pin = SDCKE1_Pin|SDNE1_Pin;
  GPIO_InitStruct.Mode = GPIO_MODE_AF_PP;
  GPIO_InitStruct.Pull = GPIO_NOPULL;
  GPIO_InitStruct.Speed = GPIO_SPEED_FREQ_VERY_HIGH;
  GPIO_InitStruct.Alternate = GPIO_AF12_FMC;
  HAL_GPIO_Init(GPIOB, &GPIO_InitStruct);

}

/* USER CODE BEGIN 4 */

// implement idle hook function and send the device to sleep
void vApplicationIdleHook(void)
{
	HAL_PWR_EnterSLEEPMode(PWR_MAINREGULATOR_ON, PWR_SLEEPENTRY_WFI);	// device will enter sleep when idle task in called
																		// WFI will wake up on IQR systick
}

static void red_led_handler(void *pvParam)
{
	BaseType_t xReturn = pdFALSE;
	char segger_buf[100];

	while(1)
	{
		// wait on wait event 0, Dont clear bits on entry/exit, only wait on event value not required
		xReturn = xTaskNotifyWait( 0x00, 0x00, NULL, pdMS_TO_TICKS(250));
		if (pdTRUE == xReturn) {

				memset(segger_buf, 0, sizeof(segger_buf));
				snprintf(segger_buf, sizeof(segger_buf), "red_led_handler: notification received");
				SEGGER_SYSVIEW_PrintfTarget(segger_buf);

				// keep red led set
				HAL_GPIO_WritePin(GPIOG, LD4_Pin, GPIO_PIN_SET);

				vTaskSuspendAll();	// suspend scheduler to avoid race condition with button task
					xNextTaskHandle = xGreenLedTaskHandle;
				xTaskResumeAll();
				vTaskDelete(NULL);
		} else {
			memset(segger_buf, 0, sizeof(segger_buf));
			snprintf(segger_buf, sizeof(segger_buf), "red_led_handler: Timeout");
			SEGGER_SYSVIEW_PrintfTarget(segger_buf);

			// toggle red led
			HAL_GPIO_TogglePin(GPIOG, LD4_Pin);
		}
	}
}

static void green_led_handler(void *pvParam)
{
	BaseType_t xReturn = pdFALSE;
	char segger_buf[100];

	while(1)
	{
		// wait on wait event 0, Dont clear bits on entry/exit, only wait on event value not required
		xReturn = xTaskNotifyWait(0x00, 0x00, NULL, pdMS_TO_TICKS(750));
		if (pdTRUE == xReturn) {

				memset(segger_buf, 0, sizeof(segger_buf));
				snprintf(segger_buf, sizeof(segger_buf), "green_led_handler: notification received");
				SEGGER_SYSVIEW_PrintfTarget(segger_buf);

				// keep green led set
				HAL_GPIO_WritePin(GPIOG, LD3_Pin, GPIO_PIN_SET);

				vTaskSuspendAll();	// suspend scheduler to avoid race condition with button task
					xNextTaskHandle = NULL;
				xTaskResumeAll();
				vTaskDelete(xButtonTaskHandle);
				vTaskDelete(NULL);
		} else {
			memset(segger_buf, 0, sizeof(segger_buf));
			snprintf(segger_buf, sizeof(segger_buf), "green_led_handler: Timeout");
			SEGGER_SYSVIEW_PrintfTarget(segger_buf);

			// toggle green led
			HAL_GPIO_TogglePin(GPIOG, LD3_Pin);
		}
	}
}

static void button_handler(void *pvParam)
{
	uint8_t btn_read = 0;
	uint8_t prev_read = 0;

	while(1) {

		btn_read = HAL_GPIO_ReadPin(GPIOA, GPIO_PIN_0);

		if(btn_read) {

			if(0 == prev_read) {
				xTaskNotify(xNextTaskHandle, 0, eNoAction);
				SEGGER_SYSVIEW_PrintfTarget("button_handler: notified handler");
			}
		}

		prev_read = btn_read;
		vTaskDelay(pdMS_TO_TICKS(10));
	}
}

/* USER CODE END 4 */

void HAL_TIM_PeriodElapsedCallback(TIM_HandleTypeDef *htim)
{
  if (htim->Instance == TIM6) {
    HAL_IncTick();
  }
}

void Error_Handler(void)
{
  __disable_irq();
  while (1)
  {
  }
}
